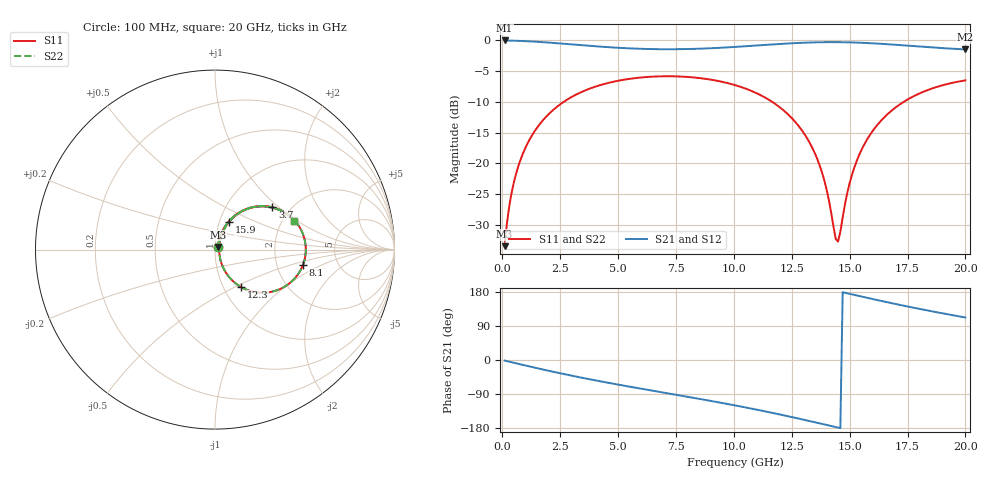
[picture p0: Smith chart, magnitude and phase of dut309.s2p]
! Touchstone file exported from HFSS 2026.1.0
!  File:  C:/ffzhzh/LocalFiles/Ansys_Project_Files/temp_train_TSV_RDL_309_1783029015_53980.aedt
!  Generated:  06:06:07 AM Jul  3, 2026
!  Design:  TSV_RDL
!  Project:  temp_train_TSV_RDL_309_1783029015_53980
! Variables:
!  h_bsmrdl = 4.41um
!  h_ox = 20um
!  h_rdl = 5um
!  h_sub = 80.09um
!  h_tmrdl = 5.53um
!  h_tsv = 80.09um
!  h_via = 3um
!  l_bsmrdl = 574.94um
!  l_sub = 4159.42um
!  l_tmrdl = 481.08um
!  m_sub = 200um
!  pitch = 43.08um
!  r_tsv = 7.54um
!  s_tmrdl = 10um
!  w_bsmrdl = 18.08um
!  w_sub = 500um
!  w_tmrdl = 18.68um
!  x_tsv_center1 = 490.42um
!  x_tsv_center2 = 1083.44um
!  x_tsv_center3 = 1583.2um
!  x_tsv_center4 = 2176.22um
!  x_tsv_center5 = 2675.98um
!  x_tsv_center6 = 3269um
# GHz S MA R 50.000000
! Terminal data exported
! Port[1] = TM_RDL1_1_T1
! Port[2] = TM_RDL5_1_T1
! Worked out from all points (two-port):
!   200 points, 100 MHz to 20 GHz, reference 50 ohm
!   highest |S21| = -0.14 dB at 100 MHz (marker M1); lowest = -1.6 dB at 20 GHz (marker M2)
!   |S21| within 3 dB of the highest: start of sweep to end of sweep
!   lowest |S11| = -33.3 dB at 100 MHz (marker M3), VSWR 1.04, Z = 51.6 + j1.45 ohm
!   |S11| at or under -10 dB: start of sweep to 2.673 GHz; 11.63 GHz to 17.36 GHz (5.723 GHz wide, 39.5 % of centre)
!   |S22| runs from -33.3 to -5.9 dB; largest |S21 - S12| = 4.4e-14
!   S11 on the Smith chart (normalised r, x): 100 MHz: 1.03, +0.03; 3.7 GHz: 1.62, +0.91; 8.1 GHz: 2.82, -0.63; 12.3 GHz: 1.21, -0.54; 15.9 GHz: 1.11, +0.35; 20 GHz: 2.31, +0.94
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0.1  0.02151 40.6  0.9839 -1.5  0.9839 -1.5  0.02151 40.6
! Gamma 0 0 0 0
! Port Impedance 50 0 50 0
0.3  0.04512 63.1  0.9819 -4.5  0.9819 -4.5  0.04512 63.1
0.5  0.07047 67.8  0.9797 -7.4  0.9797 -7.4  0.07047 67.8
1.1  0.1463 66.3  0.9697 -16.0  0.9697 -16.0  0.1463 66.3
2.1  0.2605 55.4  0.9433 -29.8  0.9433 -29.8  0.2605 55.4
3.5  0.3831 38.8  0.8986 -47.6  0.8986 -47.6  0.3831 38.8
3.7  0.3969 36.5  0.8925 -50.0  0.8925 -50.0  0.3969 36.5
5.3  0.476 19.0  0.8528 -68.2  0.8528 -68.2  0.4759 19.0
6.8  0.5049 3.6  0.8361 -84.3  0.8361 -84.3  0.5049 3.6
8.1  0.4978 -9.7  0.8395 -98.1  0.8395 -98.1  0.4978 -9.6
10.1  0.4264 -30.7  0.8736 -120.4  0.8736 -120.4  0.4264 -30.7
12.3  0.2532 -55.3  0.9293 -147.9  0.9293 -147.9  0.2532 -55.3
13.4  0.1325 -65.1  0.9488 -162.9  0.9488 -162.9  0.1325 -65.0
13.9  0.07388 -63.8  0.953 -169.9  0.953 -169.9  0.07392 -63.7
14.4  0.02461 -19.2  0.9537 -176.9  0.9537 -176.9  0.02472 -19.0
14.5  0.02339 9.2  0.9534 -178.4  0.9534 -178.4  0.02351 9.2
14.9  0.05788 60.8  0.9509 176.0  0.9509 176.0  0.05792 60.7
15.1  0.08078 65.0  0.9487 173.2  0.9487 173.2  0.08082 64.9
15.9  0.1725 63.2  0.9353 162.1  0.9353 162.1  0.1725 63.1
16.7  0.2562 55.3  0.9159 151.5  0.9159 151.5  0.2562 55.3
18.3  0.3868 37.7  0.8712 131.5  0.8712 131.5  0.3868 37.7
20  0.4684 19.7  0.8333 112.1  0.8333 112.1  0.4684 19.8
